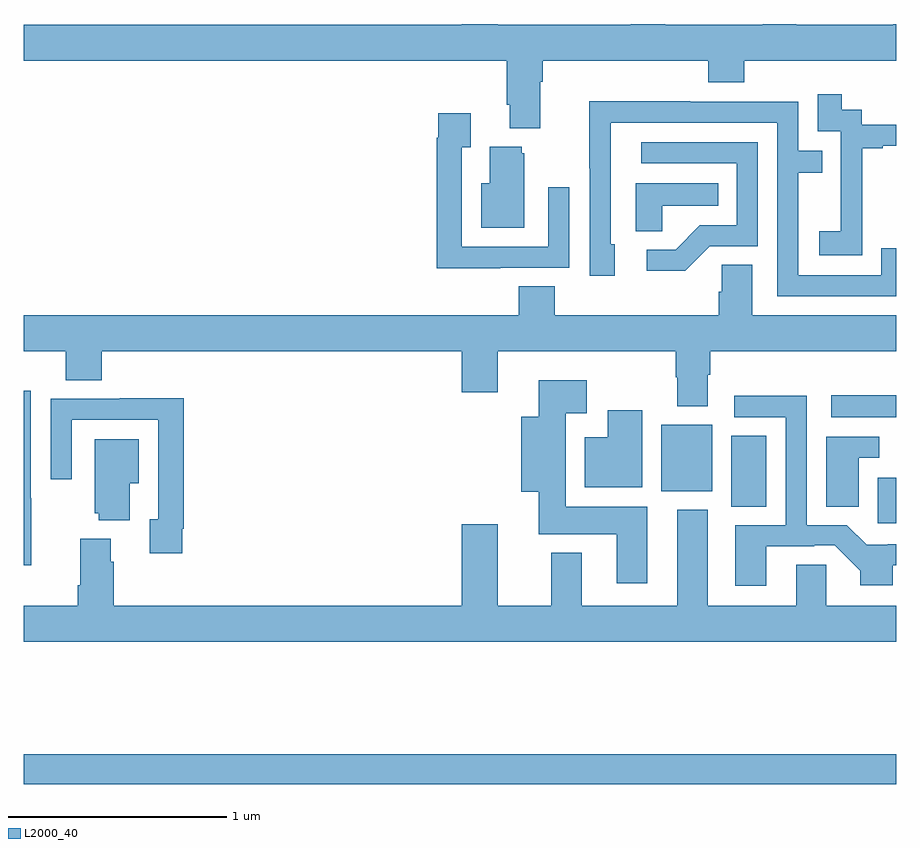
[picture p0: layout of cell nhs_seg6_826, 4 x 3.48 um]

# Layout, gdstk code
import gdstk
lib = gdstk.Library(unit=1e-6, precision=1e-09)
def R(c, l, rs):  # rectangles x0, y0, x1, y1
    for r in rs: c.add(gdstk.rectangle(r[:2], r[2:], *l))
def P(c, l, *ps):  # polygons
    for p in ps: c.add(gdstk.Polygon(p, *l))
L2000_40 = (2000, 40)

nhs_seg6_826 = lib.new_cell('nhs_seg6_826')
R(nhs_seg6_826, L2000_40, [(163,948.016,167,948.152), (166.916,949.211,167,949.42), (166.244,949.288,166.405,949.613), (165.923,949.358,166.156,949.663), (166.701,949.697,167,949.798)])
P(nhs_seg6_826, L2000_40, [(165.942,951.5),(165.782,951.5),(165.782,951.496),(165.172,951.496),(165.172,951.5),(165.008,951.5),(165.008,951.496),(163,951.496),(163,951.332),(165.215,951.332),(165.215,951.13),(165.227,951.13),(165.227,951.023),(165.367,951.023),(165.367,951.236),(165.38,951.236),(165.38,951.332),(166.139,951.332),(166.139,951.233),(166.304,951.233),(166.304,951.332),(167,951.332),(167,951.5),(166.987,951.5),(166.987,951.496),(166.542,951.496),(166.542,951.5),(166.387,951.5),(166.387,951.496),(165.942,951.496)],
  [(166.845,950.647),(166.844,950.647),(166.844,950.931),(166.939,950.931),(166.939,950.943),(167,950.943),(167,951.039),(166.842,951.039),(166.842,951.108),(166.75,951.108),(166.75,951.178),(166.641,951.178),(166.641,951.009),(166.746,951.009),(166.746,950.78),(166.745,950.78),(166.745,950.551),(166.647,950.551),(166.647,950.441),(166.845,950.441)],
  [(167,950.472),(166.932,950.472),(166.932,950.349),(166.551,950.349),(166.551,950.818),(166.661,950.818),(166.661,950.919),(166.551,950.919),(166.551,951.144),(166.055,951.144),(166.055,951.146),(165.592,951.146),(165.592,950.839),(165.594,950.839),(165.594,950.346),(165.709,950.346),(165.709,950.49),(165.69,950.49),(165.69,951.048),(166.455,951.048),(166.455,950.253),(167,950.253)],
  [(165.185,950.382),(165.501,950.382),(165.501,950.752),(165.405,950.752),(165.405,950.478),(165.009,950.478),(165.009,950.935),(165.049,950.935),(165.049,951.091),(164.901,951.091),(164.901,950.978),(164.893,950.978),(164.893,950.381),(165.185,950.381)],
  [(166.146,950.481),(166.365,950.481),(166.365,950.958),(165.831,950.958),(165.831,950.862),(166.269,950.862),(166.269,950.577),(166.1,950.577),(165.989,950.466),(165.855,950.466),(165.855,950.369),(166.033,950.369)],
  [(165.295,950.907),(165.284,950.907),(165.284,950.938),(165.137,950.938),(165.137,950.77),(165.098,950.77),(165.098,950.567),(165.295,950.567)],
  [(165.927,950.666),(166.184,950.666),(166.184,950.77),(165.806,950.77),(165.806,950.551),(165.927,950.551)],
  [(166.135,949.891),(166.148,949.891),(166.148,950),(167,950),(167,950.164),(166.339,950.164),(166.339,950.396),(166.2,950.396),(166.2,950.273),(166.187,950.273),(166.187,950.164),(165.434,950.164),(165.434,950.297),(165.269,950.297),(165.269,950.164),(163,950.164),(163,950),(163.193,950),(163.193,949.867),(163.358,949.867),(163.358,950),(165.008,950),(165.008,949.812),(165.172,949.812),(165.172,950),(165.988,950),(165.988,949.88),(165.995,949.88),(165.995,949.748),(166.135,949.748)],
  [(165.859,949.288),(165.484,949.288),(165.484,949.715),(165.58,949.715),(165.58,949.867),(165.362,949.867),(165.362,949.699),(165.281,949.699),(165.281,949.355),(165.362,949.355),(165.362,949.16),(165.719,949.16),(165.719,948.936),(165.859,948.936)],
  [(163.035,949.325),(163.032,949.325),(163.032,949.819),(163,949.819),(163,949.019),(163.035,949.019)],
  [(166.405,949.107),(166.625,949.107),(166.625,949.11),(166.719,949.11),(166.835,948.994),(166.835,948.926),(166.983,948.926),(166.983,949.019),(167,949.019),(167,949.116),(166.96,949.116),(166.96,949.113),(166.864,949.113),(166.774,949.203),(166.59,949.203),(166.59,949.796),(166.257,949.796),(166.257,949.698),(166.494,949.698),(166.494,949.203),(166.262,949.203),(166.262,948.924),(166.405,948.924)],
  [(163.726,949.186),(163.733,949.186),(163.733,949.784),(163.441,949.784),(163.441,949.782),(163.125,949.782),(163.125,949.413),(163.221,949.413),(163.221,949.686),(163.617,949.686),(163.617,949.23),(163.577,949.23),(163.577,949.074),(163.726,949.074)],
  [(165.835,949.729),(165.677,949.729),(165.677,949.606),(165.572,949.606),(165.572,949.376),(165.835,949.376)],
  [(166.828,949.512),(166.921,949.512),(166.921,949.608),(166.679,949.608),(166.679,949.288),(166.828,949.288)],
  [(163.486,949.394),(163.528,949.394),(163.528,949.597),(163.325,949.597),(163.325,949.257),(163.343,949.257),(163.343,949.226),(163.486,949.226)],
  [(167,948.832),(166.68,948.832),(166.68,949.022),(166.541,949.022),(166.541,948.832),(166.135,948.832),(166.135,949.273),(165.995,949.273),(165.995,948.832),(165.559,948.832),(165.559,949.075),(165.419,949.075),(165.419,948.832),(165.172,948.832),(165.172,949.207),(165.008,949.207),(165.008,948.832),(163.412,948.832),(163.412,949.034),(163.399,949.034),(163.399,949.141),(163.259,949.141),(163.259,948.928),(163.247,948.928),(163.247,948.832),(163,948.832),(163,948.668),(167,948.668)])

lib.write_gds('nhs_seg6_826.gds')
